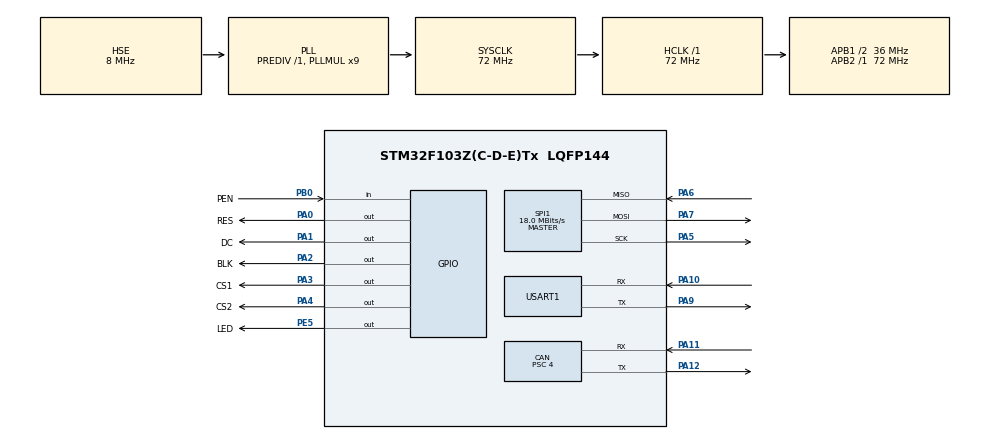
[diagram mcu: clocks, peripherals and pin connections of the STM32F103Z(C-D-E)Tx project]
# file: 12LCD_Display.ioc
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CAN.BS1=CAN_BS1_9TQ
CAN.BS2=CAN_BS2_8TQ
CAN.CalculateBaudRate=500000
CAN.CalculateTimeBit=2000
CAN.CalculateTimeQuantum=111.11111111111111
CAN.Prescaler=4
Mcu.Family=STM32F1
Mcu.Name=STM32F103Z(C-D-E)Tx
Mcu.Package=LQFP144
NVIC.PriorityGroup=NVIC_PRIORITYGROUP_4
NVIC.TIM6_IRQn=true\:0\:0\:false\:false\:true\:true\:true\:true
OSC_IN.Mode=HSE-External-Oscillator
OSC_IN.Signal=RCC_OSC_IN
OSC_OUT.Mode=HSE-External-Oscillator
OSC_OUT.Signal=RCC_OSC_OUT
PA0-WKUP.GPIO_Label=RES
PA0-WKUP.GPIO_PuPd=GPIO_PULLUP
PA0-WKUP.PinState=GPIO_PIN_SET
PA0-WKUP.Signal=GPIO_Output
PA1.GPIO_Label=DC
PA1.GPIO_PuPd=GPIO_PULLUP
PA1.PinState=GPIO_PIN_SET
PA1.Signal=GPIO_Output
PA10.Mode=Asynchronous
PA10.Signal=USART1_RX
PA11.Mode=CAN_Activate
PA11.Signal=CAN_RX
PA12.Mode=CAN_Activate
PA12.Signal=CAN_TX
PA13.Mode=Serial_Wire
PA13.Signal=SYS_JTMS-SWDIO
PA14.Mode=Serial_Wire
PA14.Signal=SYS_JTCK-SWCLK
PA2.GPIO_Label=BLK
PA2.GPIO_PuPd=GPIO_PULLUP
PA2.PinState=GPIO_PIN_SET
PA2.Signal=GPIO_Output
PA3.GPIO_Label=CS1
PA3.GPIO_PuPd=GPIO_PULLUP
PA3.PinState=GPIO_PIN_SET
PA3.Signal=GPIO_Output
PA4.GPIO_Label=CS2
PA4.GPIO_PuPd=GPIO_PULLUP
PA4.PinState=GPIO_PIN_SET
PA4.Signal=GPIO_Output
PA5.Mode=Full_Duplex_Master
PA5.Signal=SPI1_SCK
PA6.Mode=Full_Duplex_Master
PA6.Signal=SPI1_MISO
PA7.Mode=Full_Duplex_Master
PA7.Signal=SPI1_MOSI
PA9.Mode=Asynchronous
PA9.Signal=USART1_TX
PB0.GPIO_Label=PEN
PB0.GPIO_PuPd=GPIO_PULLUP
PB0.Signal=GPIO_Input
PB5.Signal=S_TIM3_CH2
PC14-OSC32_IN.Mode=LSE-External-Oscillator
PC14-OSC32_IN.Signal=RCC_OSC32_IN
PC15-OSC32_OUT.Mode=LSE-External-Oscillator
PC15-OSC32_OUT.Signal=RCC_OSC32_OUT
PE5.GPIO_Label=LED
PE5.GPIO_PuPd=GPIO_PULLUP
PE5.PinState=GPIO_PIN_SET
PE5.Signal=GPIO_Output
ProjectManager.HeapSize=0x200
ProjectManager.StackSize=0x700
ProjectManager.TargetToolchain=MDK-ARM V5.32
RCC.AHBFreq_Value=72000000
RCC.APB1CLKDivider=RCC_HCLK_DIV2
RCC.APB1Freq_Value=36000000
RCC.APB1TimFreq_Value=72000000
RCC.APB2Freq_Value=72000000
RCC.APB2TimFreq_Value=72000000
RCC.HCLKFreq_Value=72000000
RCC.PLLMUL=RCC_PLL_MUL9
RCC.PLLSourceVirtual=RCC_PLLSOURCE_HSE
RCC.RTCClockSelection=RCC_RTCCLKSOURCE_LSE
RCC.SYSCLKFreq_VALUE=72000000
RCC.SYSCLKSource=RCC_SYSCLKSOURCE_PLLCLK
RCC.USBFreq_Value=72000000
RTC.Date=22
RTC.Format=RTC_FORMAT_BIN
RTC.Hours=14
RTC.Minutes=22
RTC.Month=RTC_MONTH_MARCH
RTC.Seconds=16
RTC.Year=25
SH.S_TIM3_CH2.0=TIM3_CH2
SPI1.BaudRatePrescaler=SPI_BAUDRATEPRESCALER_4
SPI1.CalculateBaudRate=18.0 MBits/s
SPI1.Direction=SPI_DIRECTION_2LINES
SPI1.Mode=SPI_MODE_MASTER
SPI1.VirtualType=VM_MASTER
TIM6.AutoReloadPreload=TIM_AUTORELOAD_PRELOAD_ENABLE
TIM6.Period=999
TIM6.Prescaler=71
USART1.VirtualMode=VM_ASYNC
VP_RTC_VS_RTC_Activate.Mode=RTC_Enabled
VP_RTC_VS_RTC_Calendar.Mode=RTC_Calendar
VP_TIM6_VS_ClockSourceINT.Mode=Enable_Timer
board=custom

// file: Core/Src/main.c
/* USER CODE BEGIN Header */
/**
  ******************************************************************************
  * @file           : main.c
  * @brief          : Main program body
  ******************************************************************************
  * @attention
  *
  * Copyright (c) 2024 STMicroelectronics.
  * All rights reserved.
  *
  * This software is licensed under terms that can be found in the LICENSE file
  * in the root directory of this software component.
  * If no LICENSE file comes with this software, it is provided AS-IS.
  *
  ******************************************************************************
  */
/* USER CODE END Header */
#include "main.h"
#include "can.h"
#include "rtc.h"
#include "spi.h"
#include "tim.h"
#include "usart.h"
#include "gpio.h"

/* USER CODE BEGIN Includes */
#include "lcd_init.h"
#include "lcd.h"
//#include "pic.h"
//#include "touch.h"
#include "lvgl.h"
#include "lv_port_disp_template.h"
//#include "lv_port_indev_template.h"
//#include "lv_demo_stress.h"
//#include "lv_demo_widgets.h"
#include "ui.h"
//#include "dht11.h"
#include <stdio.h>
#include "canif.h"
#include "can_handle.h"
#include "inter_flashif.h"
#include "inter_flash_cfg.h"

/* USER CODE END Includes */

/* USER CODE BEGIN PV */

RTC_TimeTypeDef struct_rtc_time;
RTC_DateTypeDef struct_rtc_date;
uint8_t time_buff[15] = {0};
uint8_t date_buff[15] = {0};
uint32_t timetick = 0;
uint32_t lvtick = 0;

uint32_t rpm_value,water_temp_value,safty_belt_value,light_value,turn_light_value,date_value,time_value;
/* USER CODE END PV */

void SystemClock_Config(void);

int main(void)
{

  /* MCU Configuration--------------------------------------------------------*/

  /* Reset of all peripherals, Initializes the Flash interface and the Systick. */
  HAL_Init();

  /* Configure the system clock */
  SystemClock_Config();

  /* USER CODE BEGIN SysInit */
  __set_PRIMASK(0);
  /* USER CODE END SysInit */

  /* Initialize all configured peripherals */
  MX_GPIO_Init();
  MX_SPI1_Init();
  MX_USART1_UART_Init();
  MX_TIM6_Init();
  MX_RTC_Init();
  MX_CAN_Init();
  /* USER CODE BEGIN 2 */
	HAL_TIM_Base_Start_IT(&htim6);
	Can_Filter_Init();
	printf("                    Car APP  uart1\r\n");
  printf("----------------------------------------------------------------\r\n");

  printf("flash cfg size:%d\r\n", sizeof(inter_flash_cfg_param_typeDef));
  printf("----------------------------------------------------------------\r\n");
  inter_flash_cfg_init();          //   初始化flash配置   内部flash 参数区参数校验

	lv_init();
	lv_port_disp_init();
	//lv_port_indev_init(); //触摸已关闭
	//lv_demo_widgets();
	ui_init();
	//lv_demo_stress();

  /* USER CODE END 2 */

  /* Infinite loop */
  /* USER CODE BEGIN WHILE */
  while (1)
  {
     if (get_ota_flag() == 1)
     {
          inter_flash_cfg_set_app_update_flag(1);
          printf("Restarting...\r\n");
          HAL_Delay(1000);
          HAL_NVIC_SystemReset();
     }

		if(HAL_GetTick() - lvtick > 5)  //LVGL要求每隔5ms调用一次
		{
				lvtick = HAL_GetTick();
				lv_timer_handler();
		}

		if(HAL_GetTick() - timetick >500) //每隔500ms刷新一下时间显示
		{
				timetick = HAL_GetTick();

				HAL_RTC_GetTime(&hrtc, &struct_rtc_time, RTC_FORMAT_BIN);
				sprintf((char *)(time_buff),"%2u:%2u:%2u", struct_rtc_time.Hours, struct_rtc_time.Minutes, struct_rtc_time.Seconds);
				HAL_RTC_GetDate(&hrtc, &struct_rtc_date, RTC_FORMAT_BIN);
				sprintf((char *)date_buff,"20%2u-%2u-%2u", struct_rtc_date.Year, struct_rtc_date.Month, struct_rtc_date.Date);

				ui_set_date_time_value(date_buff, time_buff);
		}

		Can_Handle();  //不断接收can数据

		if(ui_get_rpm_value(&rpm_value) == 0) //仪表盘指针刷新
		{
				ui_set_rpm_angle(rpm_value);
		}

		if(ui_get_water_temp_value(&water_temp_value) == 0)  //水温图标状态
		{
				ui_set_water_temp_color(water_temp_value);
		}

		if(ui_get_safty_belt_value(&safty_belt_value) == 0)  //安全带图标状态
		{
				ui_set_safty_belt_color(safty_belt_value);
		}

		if(ui_get_light_value(&light_value) == 0) //灯图标状态
		{
				ui_set_light_color(light_value);
		}

		if(ui_get_turn_light_value(&turn_light_value) == 0) //转向灯图标状态
		{
				ui_set_turn_light_color(turn_light_value);
		}

		if(ui_get_date_value(&date_value) == 0) //日期更新
		{
				RTC_DateTypeDef struct_rtc_set_date;

				struct_rtc_set_date.Year = ((date_value >> 16) & 0xff);
				struct_rtc_set_date.Month = ((date_value >> 8) & 0xff);
				struct_rtc_set_date.Date = ((date_value >> 0) & 0xff);

			  if (HAL_RTC_SetDate(&hrtc, &struct_rtc_set_date, RTC_FORMAT_BIN) != HAL_OK)
				{
						Error_Handler();
				}
		}

		if(ui_get_time_value(&time_value) == 0)  //时间更新
		{
				RTC_TimeTypeDef struct_rtc_set_time;

				struct_rtc_set_time.Hours = ((time_value >> 24) & 0xff);
				struct_rtc_set_time.Minutes = ((time_value >> 16) & 0xff);
				struct_rtc_set_time.Seconds = ((time_value >> 8) & 0xff);

				if (HAL_RTC_SetTime(&hrtc, &struct_rtc_set_time, RTC_FORMAT_BIN) != HAL_OK)
				{
						Error_Handler();
				}
		}
    /* USER CODE END WHILE */

  }
}

void SystemClock_Config(void)
{
  RCC_OscInitTypeDef RCC_OscInitStruct = {0};
  RCC_ClkInitTypeDef RCC_ClkInitStruct = {0};
  RCC_PeriphCLKInitTypeDef PeriphClkInit = {0};

  /** Initializes the RCC Oscillators according to the specified parameters
  * in the RCC_OscInitTypeDef structure.
  */
  RCC_OscInitStruct.OscillatorType = RCC_OSCILLATORTYPE_HSE|RCC_OSCILLATORTYPE_LSE;
  RCC_OscInitStruct.HSEState = RCC_HSE_ON;
  RCC_OscInitStruct.HSEPredivValue = RCC_HSE_PREDIV_DIV1;
  RCC_OscInitStruct.LSEState = RCC_LSE_ON;
  RCC_OscInitStruct.HSIState = RCC_HSI_ON;
  RCC_OscInitStruct.PLL.PLLState = RCC_PLL_ON;
  RCC_OscInitStruct.PLL.PLLSource = RCC_PLLSOURCE_HSE;
  RCC_OscInitStruct.PLL.PLLMUL = RCC_PLL_MUL9;
  if (HAL_RCC_OscConfig(&RCC_OscInitStruct) != HAL_OK)
  {
    Error_Handler();
  }

  /** Initializes the CPU, AHB and APB buses clocks
  */
  RCC_ClkInitStruct.ClockType = RCC_CLOCKTYPE_HCLK|RCC_CLOCKTYPE_SYSCLK
                              |RCC_CLOCKTYPE_PCLK1|RCC_CLOCKTYPE_PCLK2;
  RCC_ClkInitStruct.SYSCLKSource = RCC_SYSCLKSOURCE_PLLCLK;
  RCC_ClkInitStruct.AHBCLKDivider = RCC_SYSCLK_DIV1;
  RCC_ClkInitStruct.APB1CLKDivider = RCC_HCLK_DIV2;
  RCC_ClkInitStruct.APB2CLKDivider = RCC_HCLK_DIV1;

  if (HAL_RCC_ClockConfig(&RCC_ClkInitStruct, FLASH_LATENCY_2) != HAL_OK)
  {
    Error_Handler();
  }
  PeriphClkInit.PeriphClockSelection = RCC_PERIPHCLK_RTC;
  PeriphClkInit.RTCClockSelection = RCC_RTCCLKSOURCE_LSE;
  if (HAL_RCCEx_PeriphCLKConfig(&PeriphClkInit) != HAL_OK)
  {
    Error_Handler();
  }
}

/* USER CODE BEGIN 4 */
void HAL_TIM_PeriodElapsedCallback(TIM_HandleTypeDef *htim)
{
	if (htim->Instance == TIM6)
	{
	 	lv_tick_inc(1);
	}

}
/* USER CODE END 4 */

void Error_Handler(void)
{
  __disable_irq();
  while (1)
  {
  }
}
